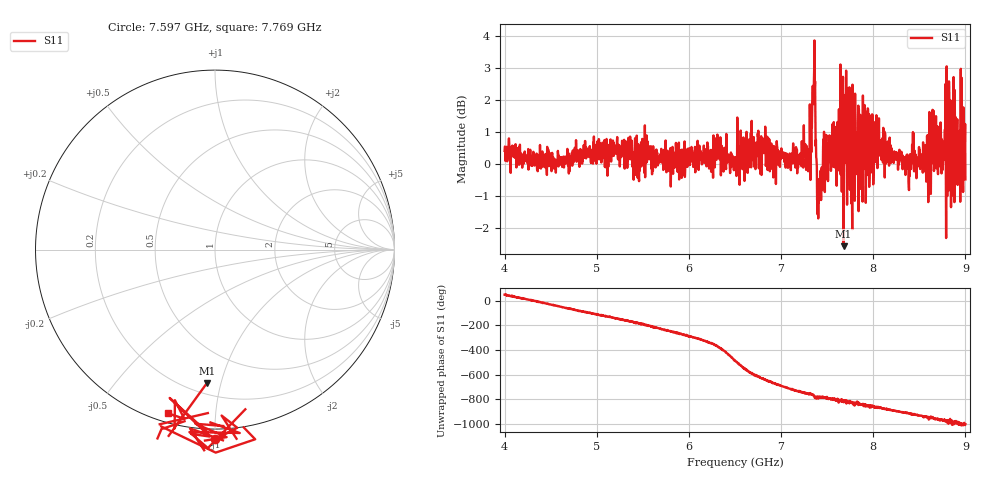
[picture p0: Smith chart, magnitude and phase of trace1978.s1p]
! Created with skrf 1.8.0 (http://scikit-rf.org).
# Hz S RI R 50.0
!freq ReS11 ImS11
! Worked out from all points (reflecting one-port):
!   1601 points, 4 GHz to 9 GHz, reference 50 ohm
!   lowest |S11| = -2.6 dB at 7.678 GHz (marker M1), VSWR 6.83, Z = 13.6 - j45.2 ohm
!   phase of S11 starts at 49 deg and turns -1050 deg over the sweep
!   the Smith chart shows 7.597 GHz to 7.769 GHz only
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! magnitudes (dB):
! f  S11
! 4 GHz  0.4
! 4.625 GHz  -0.1
! 5.25 GHz  -0.1
! 5.875 GHz  0.1
! 6.5 GHz  0.0
! 6.806 GHz  0.6
! 7.125 GHz  0.0
! 7.294 GHz  -0.2
! 7.347 GHz  1.9
! 7.366 GHz  2.4
! 7.4 GHz  -0.6
! 7.416 GHz  -1.1
! 7.481 GHz  -0.5
! 7.609 GHz  1.3
! 7.678 GHz  -2.6
! 7.688 GHz  1.7
! 7.75 GHz  1.2
! 7.769 GHz  -0.5
! 7.828 GHz  1.0
! 8.038 GHz  0.2
! 8.375 GHz  0.1
! 8.6 GHz  -0.5
! 8.656 GHz  1.7
! 8.766 GHz  0.7
! 8.819 GHz  -0.2
! 8.869 GHz  -0.3
! 8.972 GHz  0.0
! 9 GHz  -0.5
